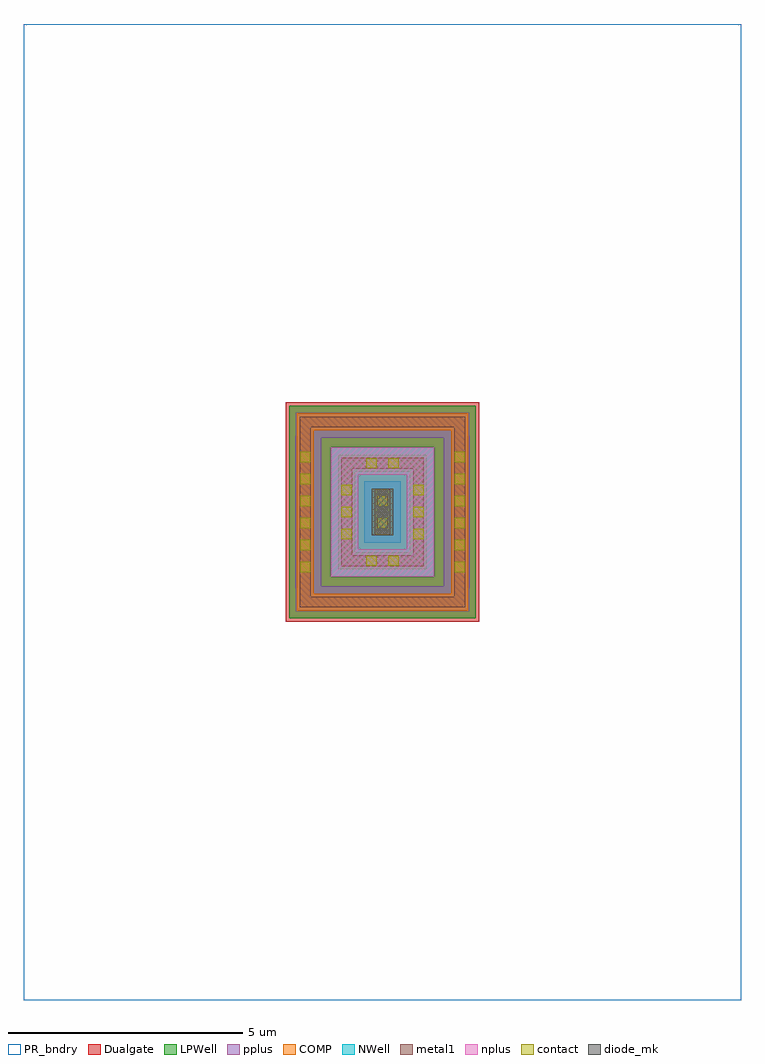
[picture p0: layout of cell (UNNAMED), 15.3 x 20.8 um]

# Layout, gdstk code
import gdstk
lib = gdstk.Library(unit=1e-6, precision=1e-09)
def R(c, l, rs):  # rectangles x0, y0, x1, y1
    for r in rs: c.add(gdstk.rectangle(r[:2], r[2:], *l))
def A(c, l, x, y, w, h, nx, ny, dx, dy):  # array of equal rectangles
    R(c, l, [(x+i*dx, y+j*dy, x+i*dx+w, y+j*dy+h) for i in range(nx) for j in range(ny)])
PR_bndry = (0, 0)
NWell = (21, 0)
COMP = (22, 0)
pplus = (31, 0)
nplus = (32, 0)
contact = (33, 0)
metal1 = (34, 0)
Dualgate = (55, 0)
diode_mk = (115, 5)
LPWell = (204, 0)

c__unnamed_ = lib.new_cell('(UNNAMED)')
R(c__unnamed_, PR_bndry, [(-7.65,-10.4,7.65,10.4)])
R(c__unnamed_, NWell, [(-1.105,-1.38,1.105,1.38)])
R(c__unnamed_, COMP, [(-1.825,-2.1,1.825,-1.74), (-1.825,-1.74,-1.465,1.74), (1.465,-1.74,1.825,1.74), (-0.945,-1.22,0.945,-0.86), (-0.945,-0.86,-0.585,0.86), (0.585,-0.86,0.945,0.86), (-0.225,-0.5,0.225,0.5), (-0.945,0.86,0.945,1.22), (-1.825,1.74,1.825,2.1)])
R(c__unnamed_, pplus, [(-1.845,-2.12,1.845,-1.615), (-1.855,-1.615,1.855,-1.58), (-1.855,-1.58,-1.305,1.58), (1.305,-1.58,1.855,1.58), (-0.385,-0.66,0.385,0.66), (-1.855,1.58,1.855,1.615), (-1.845,1.615,1.845,2.12)])
R(c__unnamed_, nplus, [(-1.105,-1.38,1.105,-0.79), (-1.105,-0.79,-0.515,0.79), (0.515,-0.79,1.105,0.79), (-1.105,0.79,1.105,1.38)])
A(c__unnamed_, contact, -0.875, -0.58, 0.22, 0.22, 1, 3, 0, 0.47)
A(c__unnamed_, contact, 0.655, -0.58, 0.22, 0.22, 1, 3, 0, 0.47)
A(c__unnamed_, contact, -1.755, -0.345, 0.22, 0.22, 3, 2, 1.645, 0.47)
R(c__unnamed_, contact, [(-1.755,-1.285,-1.535,-1.065), (1.535,-1.285,1.755,-1.065), (-0.345,-1.15,-0.125,-0.93), (0.125,-1.15,0.345,-0.93), (-1.755,-0.815,-1.535,-0.595), (1.535,-0.815,1.755,-0.595), (-1.755,0.595,-1.535,0.815), (1.535,0.595,1.755,0.815), (-0.345,0.93,-0.125,1.15), (0.125,0.93,0.345,1.15), (-1.755,1.065,-1.535,1.285), (1.535,1.065,1.755,1.285)])
R(c__unnamed_, metal1, [(-1.76,-2.035,1.76,-1.805), (-1.76,-1.805,-1.53,1.805), (1.53,-1.805,1.76,1.805), (-0.88,-1.155,0.88,-0.925), (-0.88,-0.925,-0.65,0.925), (0.65,-0.925,0.88,0.925), (-0.16,-0.49,0.16,0.49), (-0.88,0.925,0.88,1.155), (-1.76,1.805,1.76,2.035)])
R(c__unnamed_, Dualgate, [(-2.065,-2.34,2.065,2.34)])
R(c__unnamed_, diode_mk, [(-0.225,-0.5,0.225,0.5)])
R(c__unnamed_, LPWell, [(-1.985,-2.26,1.985,-1.38), (-1.985,-1.38,-1.105,1.38), (1.105,-1.38,1.985,1.38), (-1.985,1.38,1.985,2.26)])

lib.write_gds('_UNNAMED_.gds')
